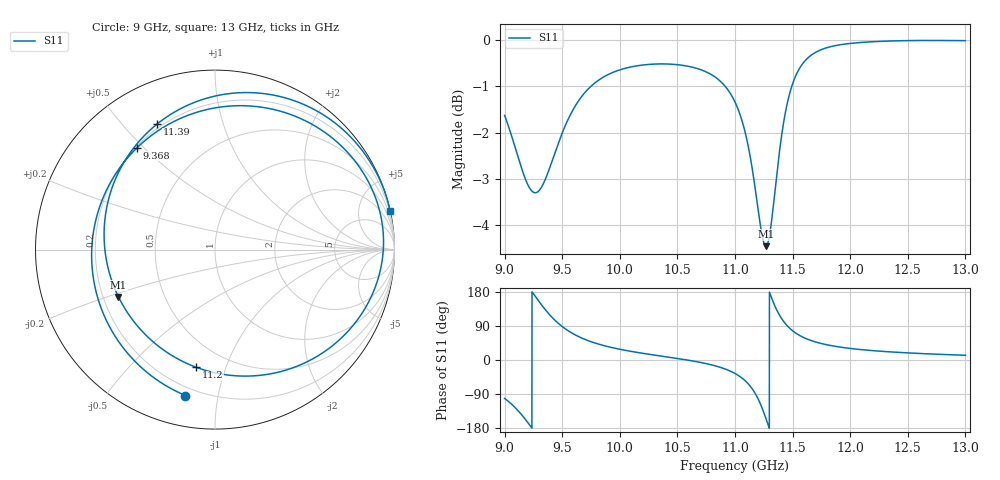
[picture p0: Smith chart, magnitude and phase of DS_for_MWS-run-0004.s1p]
! TOUCHSTONE file generated by CST DESIGN STUDIO
! Date and time: Tue Feb  4 13:54:25 2025
! Project name: C:\Work\MatlabApps\UnitCellOptimizationMatlab\CST\unitcell.cst
! Tree item: Tasks\Sweep1\SPara1\S-Parameters
! Header version: 2024
! Port assignment regex: !\s*Touchstone port\s*([0-9]+)\s*=\s*(CST MWS port|CST DES external port|CST DES block port)\s*(.+)\s* \(\"(.*)\"\)(\s*mode\s*([0-9]+))?.*
! Touchstone port assignment:
! Touchstone port 1 = CST DES external port 1 ("")
# GHz S MA R 50
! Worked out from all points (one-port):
!   4001 points, 9 GHz to 13 GHz, reference 50 ohm
!   lowest |S11| = -4.5 dB at 11.27 GHz (marker M1), VSWR 3.99, Z = 13.2 - j10.8 ohm
!   |S11| at or under -10 dB: nowhere
!   S11 on the Smith chart (normalised r, x): 9 GHz: 0.15, -0.81; 9.368 GHz: 0.21, +0.48; 11.2 GHz: 0.34, -0.79; 11.39 GHz: 0.18, +0.62; 13 GHz: 0.05, +9.09
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9  0.8294 -101.4
9.101  0.759 -128.5
9.208  0.6953 -167.7
9.283  0.685 160.9
9.368  0.7147 127.4
9.431  0.7519 106.6
9.5  0.7936 88.3
9.605  0.8457 67.6
9.716  0.8832 52.1
10  0.9289 28.3
10.5  0.9409 4.0
10.814  0.9148 -14.2
11  0.8574 -35.6
11.102  0.7817 -58.7
11.154  0.7205 -78.0
11.195  0.6637 -99.2
11.231  0.6191 -123.6
11.268  0.5988 -153.9
11.296  0.6116 -178.2
11.324  0.6473 158.8
11.393  0.7698 114.9
11.441  0.8398 94.6
11.5  0.8971 77.2
11.584  0.942 61.0
11.687  0.9683 48.7
12  0.9921 30.5
12.5  0.9991 18.7
13  0.9989 12.6
